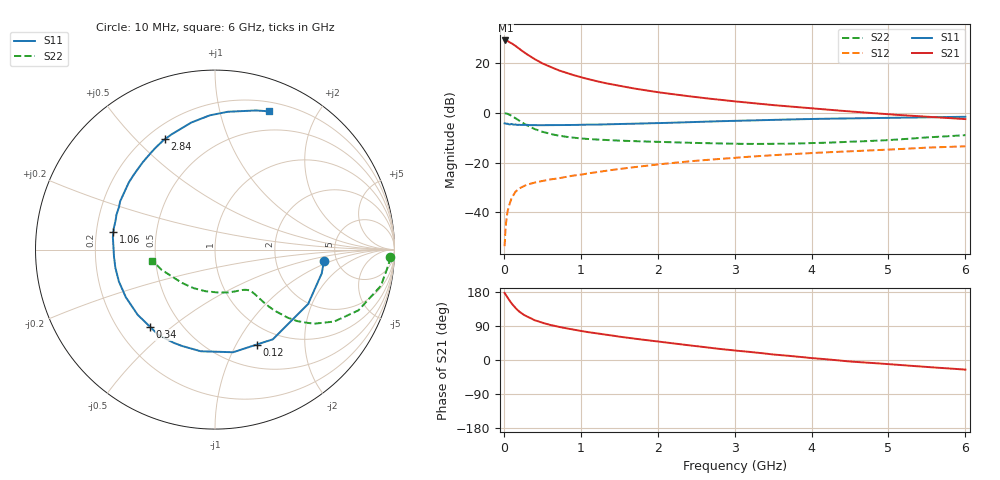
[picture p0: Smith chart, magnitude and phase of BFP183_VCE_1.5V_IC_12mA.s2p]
! Infineon Technologies  Discrete & RF Semiconductors
! BFP183
! VCE = 1.5 V,  IC =  12 mA
! Common Emitter S-Parameters:  Jan 2016
# GHz  S  MA  R  50
!  f  S11  S21  S12  S22
! GHz  MAG  ANG  MAG  ANG  MAG  ANG  MAG  ANG
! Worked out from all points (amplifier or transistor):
!   210 points, 10 MHz to 6 GHz, reference 50 ohm
!   highest |S21| = 29.0 dB at 20 MHz (marker M1)
!   |S21| within 3 dB of that: start of sweep to 186.6 MHz
!   unconditionally stable (mu >= 1): 974.5 MHz to 5.716 GHz
!   at 185 MHz: K = 0.30, MSG = 28.4 dB, |S12| = -30.8 dB
!   at 1.52 GHz: K = 1.14, MAG = 14.3 dB, |S12| = -22.5 dB
!   at 6 GHz: K = 0.96, MSG = 5.5 dB, |S12| = -13.5 dB
!   S11 on the Smith chart (normalised r, x): 10 MHz: 3.95, -0.83; 120 MHz: 0.77, -1.22; 340 MHz: 0.34, -0.42; 1.06 GHz: 0.27, +0.08; 2.84 GHz: 0.27, +0.61; 6 GHz: 0.29, +1.42
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0.01  0.6102 -6.2  28 176.8  0.0021 83.8  0.9779 -2.4
0.02  0.6092 -12.6  28.07 173.7  0.0042 85.2  0.9704 -5.0
0.05  0.6009 -30.3  27.29 163.7  0.0107 78.9  0.9461 -12.3
0.1  0.5947 -57.2  24.67 149.4  0.0191 65.2  0.8676 -23.0
0.12  0.578 -66.2  23.45 144.9  0.0217 61.9  0.829 -26.0
0.15  0.5807 -80.0  21.93 137.2  0.0258 58.3  0.776 -31.1
0.2  0.572 -98.0  19.19 127.8  0.0302 52.7  0.6904 -36.7
0.24  0.5675 -109.0  17.23 122.0  0.0324 49.1  0.6317 -39.7
0.3  0.5706 -123.4  14.86 114.5  0.036 45.9  0.5558 -43.1
0.34  0.5621 -129.9  13.62 111.2  0.0374 44.8  0.5211 -44.1
0.4  0.5635 -139.9  11.87 105.0  0.0396 43.4  0.4695 -45.9
0.6  0.5642 -161.7  8.349 92.7  0.0457 42.5  0.3756 -47.6
0.8  0.5642 -176.0  6.374 83.9  0.0511 43.6  0.3292 -48.3
1.02  0.5736 172.1  5.045 76.1  0.0577 44.7  0.3027 -49.4
1.06  0.5746 170.2  4.869 74.8  0.0592 44.8  0.2992 -49.7
1.5  0.5928 153.1  3.457 61.6  0.0741 46.0  0.2747 -54.6
2.02  0.6179 135.8  2.55 48.1  0.092 44.7  0.2597 -63.6
2.84  0.6755 114.3  1.79 28.6  0.1197 39.7  0.2413 -83.7
3.1  0.6913 108.5  1.63 23.3  0.1279 38.0  0.2369 -91.2
4.1  0.7521 90.7  1.186 3.5  0.1577 30.1  0.2473 -122.5
5.1  0.7904 77.8  0.906 -12.4  0.1846 23.2  0.288 -150.4
6  0.827 68.7  0.743 -25.4  0.2114 15.1  0.3542 -170.1
